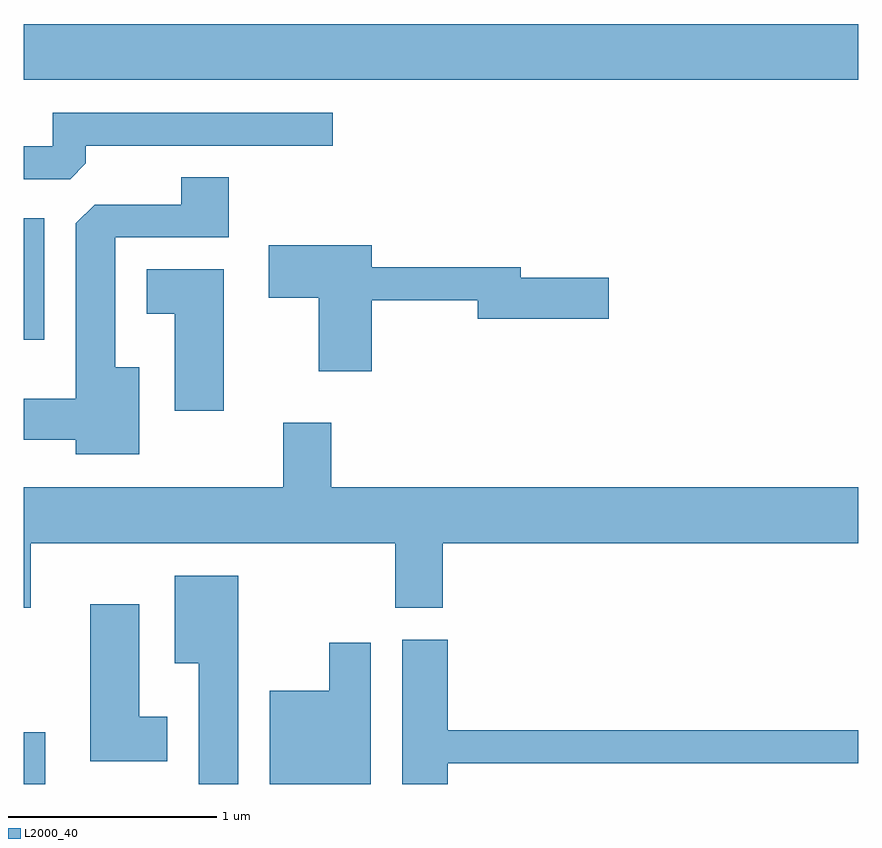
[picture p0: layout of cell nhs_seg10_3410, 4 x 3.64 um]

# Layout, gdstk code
import gdstk
lib = gdstk.Library(unit=1e-6, precision=1e-09)
def R(c, l, rs):  # rectangles x0, y0, x1, y1
    for r in rs: c.add(gdstk.rectangle(r[:2], r[2:], *l))
def P(c, l, *ps):  # polygons
    for p in ps: c.add(gdstk.Polygon(p, *l))
L2000_40 = (2000, 40)

nhs_seg10_3410 = lib.new_cell('nhs_seg10_3410')
R(nhs_seg10_3410, L2000_40, [(285.611,2130.522,285.714,2130.769), (285.611,2132.651,285.709,2133.234), (285.611,2133.896,289.611,2134.164)])
P(nhs_seg10_3410, L2000_40, [(285.909,2133.497),(285.909,2133.581),(287.093,2133.581),(287.093,2133.739),(285.751,2133.739),(285.751,2133.579),(285.611,2133.579),(285.611,2133.421),(285.834,2133.421)],
  [(286.164,2132.519),(286.049,2132.519),(286.049,2133.141),(286.594,2133.141),(286.594,2133.429),(286.366,2133.429),(286.366,2133.299),(285.952,2133.299),(285.861,2133.209),(285.861,2132.369),(285.611,2132.369),(285.611,2132.171),(285.861,2132.171),(285.861,2132.101),(286.164,2132.101)],
  [(287.279,2132.841),(287.786,2132.841),(287.786,2132.751),(288.414,2132.751),(288.414,2132.949),(287.994,2132.949),(287.994,2132.999),(287.279,2132.999),(287.279,2133.104),(286.786,2133.104),(286.786,2132.851),(287.026,2132.851),(287.026,2132.501),(287.279,2132.501)],
  [(286.569,2132.989),(286.201,2132.989),(286.201,2132.776),(286.336,2132.776),(286.336,2132.311),(286.569,2132.311)],
  [(285.644,2131.676),(287.391,2131.676),(287.391,2131.366),(287.619,2131.366),(287.619,2131.676),(289.611,2131.676),(289.611,2131.944),(287.084,2131.944),(287.084,2132.254),(286.856,2132.254),(286.856,2131.944),(285.611,2131.944),(285.611,2131.366),(285.644,2131.366)],
  [(286.639,2131.519),(286.336,2131.519),(286.336,2131.101),(286.451,2131.101),(286.451,2130.522),(286.639,2130.522)],
  [(286.299,2130.844),(286.164,2130.844),(286.164,2131.384),(285.931,2131.384),(285.931,2130.631),(286.299,2130.631)],
  [(287.644,2130.621),(289.611,2130.621),(289.611,2130.779),(287.644,2130.779),(287.644,2131.214),(287.426,2131.214),(287.426,2130.522),(287.644,2130.522)],
  [(287.274,2131.199),(287.076,2131.199),(287.076,2130.969),(286.791,2130.969),(286.791,2130.522),(287.274,2130.522)])

lib.write_gds('nhs_seg10_3410.gds')
